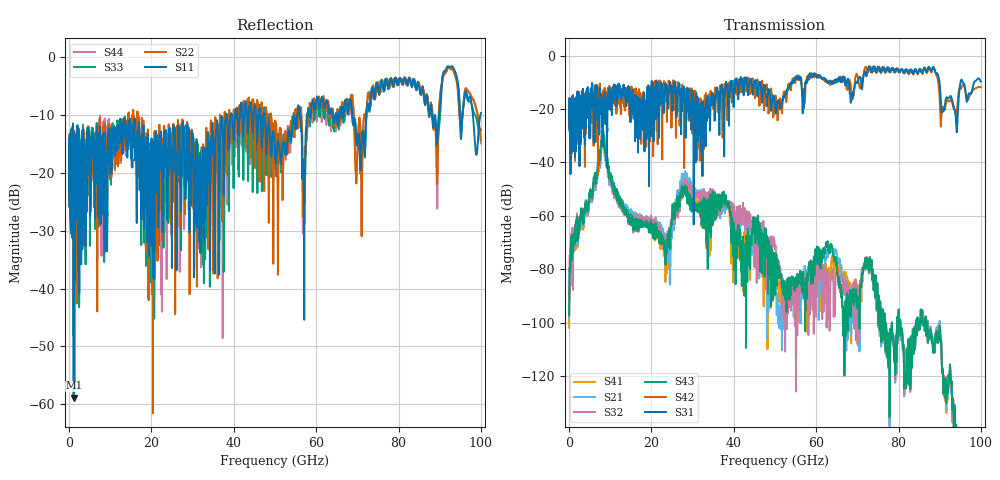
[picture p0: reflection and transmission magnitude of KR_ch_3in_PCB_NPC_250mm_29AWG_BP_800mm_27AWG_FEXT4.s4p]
! Created Thu Mar  2 12:33:09 2023
# ghz S ma R 45
! 4 Port Network Data from SP1.SP block
! freq  magS11  angS11  magS12  angS12  magS13  angS13  magS14  angS14
!  magS21  angS21  magS22  angS22  magS23  angS23  magS24  angS24
!  magS31  angS31  magS32  angS32  magS33  angS33  magS34  angS34
!  magS41  angS41  magS42  angS42  magS43  angS43  magS44  angS44
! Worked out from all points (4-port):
!   4000 points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, 25 MHz to 100 GHz, reference 45 ohm
!   strongest paths, dB at 25 MHz, 25.02 GHz, 50.02 GHz, 75.03 GHz, 100 GHz:
!     S31: -21.1, -18.1, -18.0, -4.1, -9.7
!     S42: -21.0, -13.4, -15.9, -4.9, -11.8
!     S43: -97.2, -59.5, -84.5, -96.7, -172.9
!     S32: -92.0, -59.1, -72.4, -97.0, -176.4
!     S21: -98.1, -62.9, -84.0, -97.0, -173.2
!     S41: -101.8, -61.2, -83.0, -96.7, -171.4
!   lowest |S11| = -58.8 dB at 1.125 GHz (marker M1), VSWR 1.00, Z = 45 + j0.101 ohm
!   |S11| at or under -10 dB: start of sweep to 38.16 GHz; 47.47 GHz to 55.53 GHz (8.061 GHz wide, 15.7 % of centre); 68.77 GHz to 72.17 GHz (3.401 GHz wide, 4.83 % of centre)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
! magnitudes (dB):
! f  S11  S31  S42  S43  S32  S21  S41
! 25 MHz  -16.4  -21.1  -21.0  -97.2  -92.0  -98.1  -101.8
! 1.125 GHz  -58.8  -25.8  -27.0  -67.1  -66.1  -68.4  -69.0
! 8.175 GHz  -18.9  -31.9  -17.8  -28.1  -29.9  -31.6  -29.5
! 23.77 GHz  -16.8  -12.5  -24.4  -73.1  -70.8  -70.2  -80.6
! 27.8 GHz  -15.3  -12.1  -15.4  -49.6  -48.1  -44.4  -46.2
! 48.4 GHz  -12.1  -12.4  -21.1  -69.5  -76.3  -94.4  -76.0
! 100 GHz  -9.7  -9.7  -11.8  -172.9  -176.4  -173.2  -171.4
